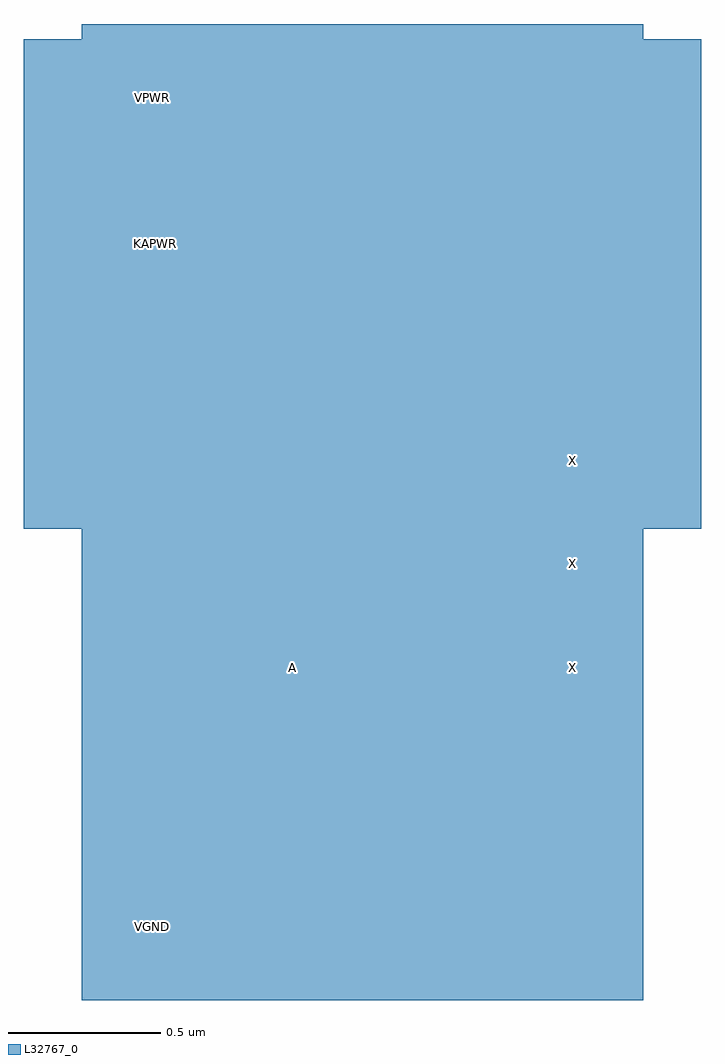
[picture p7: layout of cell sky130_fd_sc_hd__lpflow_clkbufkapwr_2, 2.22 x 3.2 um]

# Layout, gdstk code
import gdstk
lib = gdstk.Library(unit=1e-6, precision=1e-09)
def R(c, l, rs):  # rectangles x0, y0, x1, y1
    for r in rs: c.add(gdstk.rectangle(r[:2], r[2:], *l))
def A(c, l, x, y, w, h, nx, ny, dx, dy):  # array of equal rectangles
    R(c, l, [(x+i*dx, y+j*dy, x+i*dx+w, y+j*dy+h) for i in range(nx) for j in range(ny)])
def P(c, l, *ps):  # polygons
    for p in ps: c.add(gdstk.Polygon(p, *l))
L32767_0 = (32767, 0)

sky130_fd_sc_hd__lpflow_ = lib.new_cell('sky130_fd_sc_hd__lpflow_clkbufkapwr_2')
A(sky130_fd_sc_hd__lpflow_, L32767_0, 0.145, -0.085, 0.17, 0.17, 4, 2, 0.46, 2.72)
A(sky130_fd_sc_hd__lpflow_, L32767_0, 1.525, 0.765, 0.17, 0.17, 1, 3, 0, 0.34)
R(sky130_fd_sc_hd__lpflow_, L32767_0, [(0,-0.24,1.84,0.24), (0,-0.19,1.84,1.015), (0.145,-0.085,0.315,0.085), (0.145,-0.085,0.315,0.085), (0.145,-0.085,0.315,0.085), (0,0,1.84,2.72), (0,0,1.84,2.72), (0.135,0.235,1.705,0.655), (0.605,0.315,0.775,0.485), (1.495,0.315,1.665,0.485), (0.175,0.335,0.345,0.505), (1.075,0.335,1.245,0.505), (0.425,0.745,0.785,1.24), (0.605,0.765,0.775,0.935), (0.445,0.98,0.615,1.15), (0.965,1.075,1.135,1.245), (0,1.25,1.84,2.72), (0,1.25,1.84,2.72), (0,1.25,1.84,2.72), (-0.19,1.305,2.03,2.91), (0,1.355,1.84,2.91), (0.135,1.485,1.705,2.485), (0.175,1.66,0.345,1.83), (0.525,1.855,0.855,2.465), (0.605,1.855,0.775,2.025), (0.61,2.125,0.78,2.295), (0.15,2.14,0.325,2.34), (1.415,2.14,1.75,2.465), (1.495,2.14,1.665,2.31), (0.175,2.185,0.345,2.355), (1.075,2.185,1.245,2.355), (0.605,2.195,0.775,2.365), (1.495,2.21,1.665,2.38), (0,2.48,1.84,2.96), (0,2.635,1.84,2.805), (0.145,2.635,0.315,2.805), (0.145,2.635,0.315,2.805), (0.145,2.635,0.315,2.805)])
P(sky130_fd_sc_hd__lpflow_, L32767_0, [(1.84,1.345),(0,1.345),(0,0.975),(0.345,0.975),(0.345,0.88),(0.715,0.88),(0.715,0.975),(1.84,0.975)],
  [(1.215,1.58),(0.355,1.58),(0.355,2.435),(0.085,2.435),(0.085,0.255),(0.345,0.255),(0.345,0.585),(0.255,0.585),(0.255,1.41),(0.965,1.41),(0.965,0.995),(1.215,0.995)],
  [(1.725,1.97),(1.245,1.97),(1.245,2.435),(1.06,2.435),(1.06,1.75),(1.385,1.75),(1.385,0.825),(1.04,0.825),(1.04,0.255),(1.245,0.255),(1.245,0.655),(1.725,0.655)],
  [(1.84,0.085),(1.75,0.085),(1.75,0.485),(1.415,0.485),(1.415,0.085),(0.83,0.085),(0.83,0.565),(0.555,0.565),(0.555,0.085),(0,0.085),(0,-0.085),(1.84,-0.085)],
  [(0.665,1.395),(0.55,1.395),(0.55,2.615),(0.4,2.615),(0.4,1.395),(0.345,1.395),(0.345,0.9),(0.4,0.9),(0.4,0.105),(0.55,0.105),(0.55,0.9),(0.665,0.9)],
  [(1.445,2.615),(1.295,2.615),(1.295,1.395),(1.025,1.395),(1.025,2.615),(0.875,2.615),(0.875,0.105),(1.025,0.105),(1.025,0.745),(1.295,0.745),(1.295,0.105),(1.445,0.105)],
  [(1.77,2.34),(0.07,2.34),(0.07,2.14),(0.55,2.14),(0.55,2.08),(0.84,2.08),(0.84,2.14),(1.435,2.14),(1.435,2.08),(1.725,2.08),(1.725,2.14),(1.77,2.14)])
sky130_fd_sc_hd__lpflow_.add(gdstk.Label('A', (0.69,0.85), layer=32767, texttype=5))
sky130_fd_sc_hd__lpflow_.add(gdstk.Label('X', (1.61,1.19), layer=32767, texttype=5))
sky130_fd_sc_hd__lpflow_.add(gdstk.Label('X', (1.61,0.85), layer=32767, texttype=5))
sky130_fd_sc_hd__lpflow_.add(gdstk.Label('X', (1.61,1.53), layer=32767, texttype=5))
sky130_fd_sc_hd__lpflow_.add(gdstk.Label('KAPWR', (0.24,2.24), layer=32767, texttype=5))
sky130_fd_sc_hd__lpflow_.add(gdstk.Label('VGND', (0.23,0), layer=32767, texttype=5))
sky130_fd_sc_hd__lpflow_.add(gdstk.Label('VPWR', (0.23,2.72), layer=32767, texttype=5))
sky130_fd_sc_hd__lpflow_.add(gdstk.Label('VGND', (0.23,0), layer=32767, texttype=5))
sky130_fd_sc_hd__lpflow_.add(gdstk.Label('VPWR', (0.23,2.72), layer=32767, texttype=5))
sky130_fd_sc_hd__lpflow_.add(gdstk.Label('VPB', (0.23,2.72), layer=32767, texttype=5))
sky130_fd_sc_hd__lpflow_.add(gdstk.Label('VNB', (0.23,0), layer=32767, texttype=59))
sky130_fd_sc_hd__lpflow_.add(gdstk.Label('lpflow_clkbufkapwr_2', (0,0), layer=32767, texttype=44))

lib.write_gds('sky130_fd_sc_hd__lpflow_clkbufkapwr_2.gds')
